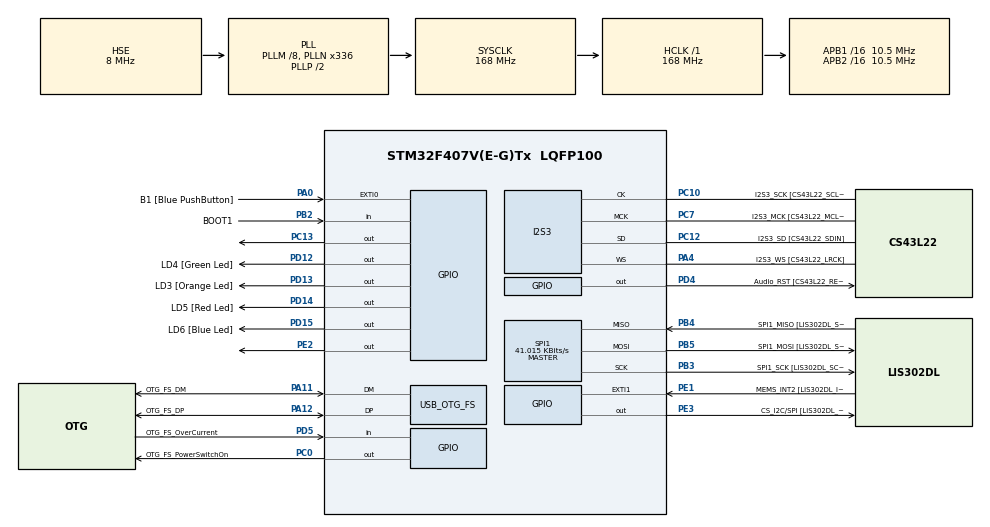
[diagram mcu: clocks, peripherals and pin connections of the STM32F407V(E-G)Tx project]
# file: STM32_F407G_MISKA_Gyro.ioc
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I2S3.AudioFreq-Half_Duplex_Master=I2S_AUDIOFREQ_96K
I2S3.ErrorAudioFreq=-2.34 %
I2S3.ErrorAudioFreq-Half_Duplex_Master=0.8 %
I2S3.FullDuplexMode=I2S_FULLDUPLEXMODE_DISABLE
I2S3.Instance=SPI$Index
I2S3.RealAudioFreq=93.75 KHz
I2S3.RealAudioFreq-Half_Duplex_Master=96.774 KHz
I2S3.VirtualMode=I2S_MODE_MASTER
Mcu.Family=STM32F4
Mcu.Name=STM32F407V(E-G)Tx
Mcu.Package=LQFP100
NVIC.EXTI0_IRQn=true\:0\:0\:false\:false\:true\:true\:true\:true
NVIC.OTG_FS_IRQn=true\:0\:0\:false\:false\:true\:true\:true\:true
NVIC.PriorityGroup=NVIC_PRIORITYGROUP_0
PA0-WKUP.GPIO_Label=B1 [Blue PushButton]
PA0-WKUP.GPIO_ModeDefaultEXTI=GPIO_MODE_IT_RISING_FALLING
PA0-WKUP.GPIO_PuPd=GPIO_PULLDOWN
PA0-WKUP.Signal=GPXTI0
PA10.GPIO_Label=OTG_FS_ID
PA10.GPIO_Mode=GPIO_MODE_AF_PP
PA10.GPIO_PuPd=GPIO_NOPULL
PA10.GPIO_Speed=GPIO_SPEED_FREQ_LOW
PA10.Signal=USB_OTG_FS_ID
PA11.GPIO_Label=OTG_FS_DM
PA11.GPIO_Mode=GPIO_MODE_AF_PP
PA11.GPIO_PuPd=GPIO_NOPULL
PA11.GPIO_Speed=GPIO_SPEED_FREQ_LOW
PA11.Mode=Device_Only
PA11.Signal=USB_OTG_FS_DM
PA12.GPIO_Label=OTG_FS_DP
PA12.GPIO_Mode=GPIO_MODE_AF_PP
PA12.GPIO_PuPd=GPIO_NOPULL
PA12.GPIO_Speed=GPIO_SPEED_FREQ_LOW
PA12.Mode=Device_Only
PA12.Signal=USB_OTG_FS_DP
PA13.GPIO_Label=SWDIO
PA13.Mode=Serial_Wire
PA13.Signal=SYS_JTMS-SWDIO
PA14.GPIO_Label=SWCLK
PA14.Mode=Serial_Wire
PA14.Signal=SYS_JTCK-SWCLK
PA4.GPIO_Label=I2S3_WS [CS43L22_LRCK]
PA4.GPIO_Mode=GPIO_MODE_AF_PP
PA4.GPIO_PuPd=GPIO_NOPULL
PA4.GPIO_Speed=GPIO_SPEED_FREQ_LOW
PA4.Mode=Half_Duplex_Master
PA4.Signal=I2S3_WS
PA9.GPIO_Label=VBUS_FS
PA9.GPIO_Mode=GPIO_MODE_INPUT
PA9.GPIO_PuPd=GPIO_NOPULL
PA9.Signal=USB_OTG_FS_VBUS
PB10.GPIO_Label=CLK_IN [MP45DT02_CLK]
PB10.GPIO_Mode=GPIO_MODE_AF_PP
PB10.GPIO_PuPd=GPIO_NOPULL
PB10.GPIO_Speed=GPIO_SPEED_FREQ_LOW
PB10.Signal=I2S2_CK
PB2.GPIO_Label=BOOT1
PB2.GPIO_Mode=GPIO_MODE_INPUT
PB2.GPIO_PuPd=GPIO_NOPULL
PB2.Signal=GPIO_Input
PB3.GPIO_Label=SPI1_SCK [LIS302DL_SCL/SPC]
PB3.GPIO_Mode=GPIO_MODE_AF_PP
PB3.GPIO_PuPd=GPIO_NOPULL
PB3.GPIO_Speed=GPIO_SPEED_FREQ_HIGH
PB3.Mode=Full_Duplex_Master
PB3.Signal=SPI1_SCK
PB4.GPIO_Label=SPI1_MISO [LIS302DL_SDO]
PB4.GPIO_Mode=GPIO_MODE_AF_PP
PB4.GPIO_PuPd=GPIO_NOPULL
PB4.GPIO_Speed=GPIO_SPEED_FREQ_HIGH
PB4.Mode=Full_Duplex_Master
PB4.Signal=SPI1_MISO
PB5.GPIO_Label=SPI1_MOSI [LIS302DL_SDA/SDI/SDO]
PB5.GPIO_Mode=GPIO_MODE_AF_PP
PB5.GPIO_PuPd=GPIO_NOPULL
PB5.GPIO_Speed=GPIO_SPEED_FREQ_HIGH
PB5.Mode=Full_Duplex_Master
PB5.Signal=SPI1_MOSI
PC0.GPIO_Label=OTG_FS_PowerSwitchOn
PC0.GPIO_PuPd=GPIO_NOPULL
PC0.GPIO_Speed=GPIO_SPEED_FREQ_LOW
PC0.PinState=GPIO_PIN_SET
PC0.Signal=GPIO_Output
PC10.GPIO_Label=I2S3_SCK [CS43L22_SCLK]
PC10.GPIO_Mode=GPIO_MODE_AF_PP
PC10.GPIO_PuPd=GPIO_NOPULL
PC10.GPIO_Speed=GPIO_SPEED_FREQ_LOW
PC10.Mode=Half_Duplex_Master
PC10.Signal=I2S3_CK
PC12.GPIO_Label=I2S3_SD [CS43L22_SDIN]
PC12.GPIO_Mode=GPIO_MODE_AF_PP
PC12.GPIO_PuPd=GPIO_NOPULL
PC12.GPIO_Speed=GPIO_SPEED_FREQ_LOW
PC12.Mode=Half_Duplex_Master
PC12.Signal=I2S3_SD
PC13-ANTI_TAMP.PinState=GPIO_PIN_SET
PC13-ANTI_TAMP.Signal=GPIO_Output
PC14-OSC32_IN.GPIO_Label=PC14-OSC32_IN
PC14-OSC32_IN.Mode=LSE-External-Oscillator
PC14-OSC32_IN.Signal=RCC_OSC32_IN
PC15-OSC32_OUT.GPIO_Label=PC15-OSC32_OUT
PC15-OSC32_OUT.Mode=LSE-External-Oscillator
PC15-OSC32_OUT.Signal=RCC_OSC32_OUT
PC3.GPIO_Label=PDM_OUT [MP45DT02_DOUT]
PC3.GPIO_Mode=GPIO_MODE_AF_PP
PC3.GPIO_PuPd=GPIO_NOPULL
PC3.GPIO_Speed=GPIO_SPEED_FREQ_LOW
PC3.Signal=I2S2_SD
PC7.GPIO_Label=I2S3_MCK [CS43L22_MCLK]
PC7.GPIO_Mode=GPIO_MODE_AF_PP
PC7.GPIO_PuPd=GPIO_NOPULL
PC7.GPIO_Speed=GPIO_SPEED_FREQ_LOW
PC7.Mode=Master_Clock_Activated
PC7.Signal=I2S3_MCK
PD12.GPIO_Label=LD4 [Green Led]
PD12.GPIO_PuPd=GPIO_NOPULL
PD12.GPIO_Speed=GPIO_SPEED_FREQ_LOW
PD12.Signal=GPIO_Output
PD13.GPIO_Label=LD3 [Orange Led]
PD13.GPIO_PuPd=GPIO_NOPULL
PD13.GPIO_Speed=GPIO_SPEED_FREQ_LOW
PD13.Signal=GPIO_Output
PD14.GPIO_Label=LD5 [Red Led]
PD14.GPIO_PuPd=GPIO_NOPULL
PD14.GPIO_Speed=GPIO_SPEED_FREQ_LOW
PD14.Signal=GPIO_Output
PD15.GPIO_Label=LD6 [Blue Led]
PD15.GPIO_PuPd=GPIO_NOPULL
PD15.GPIO_Speed=GPIO_SPEED_FREQ_LOW
PD15.Signal=GPIO_Output
PD4.GPIO_Label=Audio_RST [CS43L22_RESET]
PD4.GPIO_PuPd=GPIO_NOPULL
PD4.GPIO_Speed=GPIO_SPEED_FREQ_LOW
PD4.Signal=GPIO_Output
PD5.GPIO_Label=OTG_FS_OverCurrent
PD5.GPIO_Mode=GPIO_MODE_INPUT
PD5.GPIO_PuPd=GPIO_NOPULL
PD5.Signal=GPIO_Input
PE1.GPIO_Label=MEMS_INT2 [LIS302DL_INT2]
PE1.GPIO_ModeDefaultEXTI=GPIO_MODE_EVT_RISING
PE1.GPIO_PuPd=GPIO_NOPULL
PE1.Signal=GPXTI1
PE2.GPIO_Speed=GPIO_SPEED_FREQ_HIGH
PE2.Signal=GPIO_Output
PE3.GPIO_Label=CS_I2C/SPI [LIS302DL_CS_I2C/SPI]
PE3.GPIO_PuPd=GPIO_NOPULL
PE3.GPIO_Speed=GPIO_SPEED_FREQ_LOW
PE3.Signal=GPIO_Output
PH0-OSC_IN.GPIO_Label=PH0-OSC_IN
PH0-OSC_IN.Mode=HSE-External-Oscillator
PH0-OSC_IN.Signal=RCC_OSC_IN
PH1-OSC_OUT.GPIO_Label=PH1-OSC_OUT
PH1-OSC_OUT.Mode=HSE-External-Oscillator
PH1-OSC_OUT.Signal=RCC_OSC_OUT
ProjectManager.HeapSize=0x200
ProjectManager.StackSize=0x400
ProjectManager.TargetToolchain=STM32CubeIDE
RCC.48MHZClocksFreq_Value=48000000
RCC.AHBFreq_Value=168000000
RCC.APB1CLKDivider=RCC_HCLK_DIV16
RCC.APB1Freq_Value=10500000
RCC.APB1TimFreq_Value=21000000
RCC.APB2CLKDivider=RCC_HCLK_DIV16
RCC.APB2Freq_Value=10500000
RCC.APB2TimFreq_Value=21000000
RCC.CortexFreq_Value=168000000
RCC.HCLKFreq_Value=168000000
RCC.HSE_VALUE=8000000
RCC.HSI_VALUE=16000000
RCC.PLLM=8
RCC.PLLN=336
RCC.PLLQ=7
RCC.SYSCLKFreq_VALUE=168000000
RCC.SYSCLKSource=RCC_SYSCLKSOURCE_PLLCLK
RCC.VCOOutputFreq_Value=336000000
SPI1.BaudRatePrescaler=SPI_BAUDRATEPRESCALER_256
SPI1.CalculateBaudRate=41.015 KBits/s
SPI1.Direction=SPI_DIRECTION_2LINES
SPI1.Mode=SPI_MODE_MASTER
SPI1.VirtualType=VM_MASTER
USB_DEVICE.CLASS_NAME_FS=HID
USB_DEVICE.PRODUCT_STRING_HID_FS=STM32F407G MISKA
USB_DEVICE.VirtualMode-HID_FS=Hid
USB_DEVICE.VirtualModeFS=Hid_FS
USB_OTG_FS.VirtualMode=Device_Only
VP_USB_DEVICE_VS_USB_DEVICE_HID_FS.Mode=HID_FS
board=STM32F407G-DISC1

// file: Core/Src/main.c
/* USER CODE BEGIN Header */
/**
  ******************************************************************************
  * @file           : main.c
  * @brief          : Main program body
  ******************************************************************************
  * @attention
  *
  * <h2><center>&copy; Copyright (c) 2022 STMicroelectronics.
  * All rights reserved.</center></h2>
  *
  * This software component is licensed by ST under Ultimate Liberty license
  * SLA0044, the "License"; You may not use this file except in compliance with
  * the License. You may obtain a copy of the License at:
  *                             www.st.com/SLA0044
  *
  ******************************************************************************
  */
/* USER CODE END Header */
#include "main.h"
#include "i2s.h"
#include "spi.h"
#include "usb_device.h"
#include "gpio.h"

/* USER CODE BEGIN Includes */
#include "usbd_hid.h"
/* USER CODE END Includes */

/* USER CODE BEGIN PV */
#define BUFSIZE 256
char	SendBuffer[BUFSIZE];
int	Counter;
int KeyState=0;

// Global variables
uint8_t indata[2];
uint8_t outdata[2] = {0,0};
uint8_t lis_id;
int8_t AccelX;
int8_t AccelY;
int8_t AccelZ;
int8_t GyroX;
int8_t GyroY;
int8_t GyroZ;
HAL_StatusTypeDef SPIStatus;

/* USER CODE END PV */

void SystemClock_Config(void);

/* USER CODE BEGIN 0 */

uint8_t button_flag = 0;

int16_t vertZero = 0;
int16_t horzZero = 0;
int16_t vertValue = 0;
int16_t horzValue = 0;
int16_t sensitivity = 30;
int16_t summ_horz = 0;

// MOUSE
extern USBD_HandleTypeDef hUsbDeviceFS;

typedef struct
{
	uint8_t button;
	int8_t mouse_x;
	int8_t mouse_y;
	int8_t wheel;
} mouseHID;

mouseHID mousehid = {0,0,0,0};

// EXTI -> external interrupt for when the USER button on the STM32 is pressed

void HAL_GPIO_EXTI_Callback(uint16_t GPIO_Pin)
{
	if (GPIO_Pin == GPIO_PIN_0) //Check if the blue USER button is pressed; GPIOA, GPIO_PIN_0
	{
		//button_flag = 1;
		button_flag = HAL_GPIO_ReadPin(GPIOA, GPIO_PIN_0);
	}
}

/* USER CODE END 0 */

int main(void)
{

  /* MCU Configuration--------------------------------------------------------*/

  /* Reset of all peripherals, Initializes the Flash interface and the Systick. */
  HAL_Init();

  /* Configure the system clock */
  SystemClock_Config();

  /* Initialize all configured peripherals */
  MX_GPIO_Init();
  MX_I2S3_Init();
  MX_SPI1_Init();
  MX_USB_DEVICE_Init();
  /* USER CODE BEGIN 2 */

  // read WHOAMI register
  HAL_GPIO_WritePin(GPIOE, GPIO_PIN_2, GPIO_PIN_RESET);
  outdata[0] = 0x0f | 0x80 ; // read whoami
  HAL_SPI_TransmitReceive(&hspi1, &outdata, &indata, 2, HAL_MAX_DELAY);
  lis_id = indata[1];
  HAL_GPIO_WritePin(GPIOE, GPIO_PIN_2, GPIO_PIN_SET);
  HAL_Delay(500);

  // sensor setup (activation and setting frequency)
  HAL_GPIO_WritePin(GPIOE, GPIO_PIN_2, GPIO_PIN_RESET);

  outdata[0] = 0x10 ; // register used for setting up the accelerometer
  outdata[1] = 0x20 ; // set frequency to 26Hz
  HAL_SPI_TransmitReceive(&hspi1, &outdata, &indata, 2, HAL_MAX_DELAY);

  HAL_GPIO_WritePin(GPIOE, GPIO_PIN_2, GPIO_PIN_SET);
  HAL_Delay(500);
  outdata[1] = 0x00 ;
  HAL_GPIO_WritePin(GPIOE, GPIO_PIN_2, GPIO_PIN_RESET);

  outdata[0] = 0x11 ; // register used for setting up the gyroscope
  outdata[1] = 0x20 ; // set frequency to 26Hz
  HAL_SPI_TransmitReceive(&hspi1, &outdata, &indata, 2, HAL_MAX_DELAY);

  HAL_GPIO_WritePin(GPIOE, GPIO_PIN_2, GPIO_PIN_SET);
  HAL_Delay(500);
  outdata[1] = 0x00 ;

  /* USER CODE END 2 */

  /* Infinite loop */
  /* USER CODE BEGIN WHILE */
  while (1)
  {

	  //Read gyroscope measurements
	  outdata[0] = 0x23 | 0x80 ; // read x (pitch), 0x4B
	  HAL_GPIO_WritePin(GPIOE, GPIO_PIN_2, GPIO_PIN_RESET);
	  HAL_SPI_TransmitReceive(&hspi1, &outdata, &indata, 2, HAL_MAX_DELAY);
	   	   HAL_GPIO_WritePin(GPIOE, GPIO_PIN_2, GPIO_PIN_SET);
	  GyroX = indata[1];

	  outdata[0] = 0x25 | 0x80 ; // read y (roll), 0x4D
	   	   HAL_GPIO_WritePin(GPIOE, GPIO_PIN_2, GPIO_PIN_RESET);
	  HAL_SPI_TransmitReceive(&hspi1, &outdata, &indata, 2, HAL_MAX_DELAY);
	   	   HAL_GPIO_WritePin(GPIOE, GPIO_PIN_2, GPIO_PIN_SET);
	  GyroY = indata[1];

	  outdata[0] = 0x27 | 0x80 ; // read z (yaw), 0x4F
	   	   HAL_GPIO_WritePin(GPIOE, GPIO_PIN_2, GPIO_PIN_RESET);
	  HAL_SPI_TransmitReceive(&hspi1, &outdata, &indata, 2, HAL_MAX_DELAY);
	  HAL_GPIO_WritePin(GPIOE, GPIO_PIN_2, GPIO_PIN_SET);
	  GyroZ = indata[1];

	  //Read accelerometer measurements
	  outdata[0] = 0x29 | 0x80 ; // read x, 0x51
	  HAL_GPIO_WritePin(GPIOE, GPIO_PIN_2, GPIO_PIN_RESET);
	  HAL_SPI_TransmitReceive(&hspi1, &outdata, &indata, 2, HAL_MAX_DELAY);
	   	   HAL_GPIO_WritePin(GPIOE, GPIO_PIN_2, GPIO_PIN_SET);
	  AccelX = indata[1];
	  outdata[0] = 0x2B | 0x80 ; // read y, 0x53
	   	   HAL_GPIO_WritePin(GPIOE, GPIO_PIN_2, GPIO_PIN_RESET);
	  HAL_SPI_TransmitReceive(&hspi1, &outdata, &indata, 2, HAL_MAX_DELAY);
	   	   HAL_GPIO_WritePin(GPIOE, GPIO_PIN_2, GPIO_PIN_SET);
	  AccelY = indata[1];
	  outdata[0] = 0x2D | 0x80 ; // read z, 0x55
	   	   HAL_GPIO_WritePin(GPIOE, GPIO_PIN_2, GPIO_PIN_RESET);
	  HAL_SPI_TransmitReceive(&hspi1, &outdata, &indata, 2, HAL_MAX_DELAY);
	  HAL_GPIO_WritePin(GPIOE, GPIO_PIN_2, GPIO_PIN_SET);
	  AccelZ = indata[1];

    /* USER CODE END WHILE */

    /* USER CODE BEGIN 3 */
	  //HAL_Delay(1000);

	vertValue = GyroY; // / 3.142857 * 180; /*- vertZero;*/
	horzValue = GyroX; // / 3.142857 * 180; /*- horzZero;*/
	vertZero = GyroY;
	horzZero = GyroX;

	if ((AccelZ < 16 && vertValue > 2) || (vertValue < -2 && AccelZ > -36)) { // goes up when vertval is negative and down when positive; Accelerometer is used to limit the angle of usage to not have to use the air-mouse in a unpleasant position
		mousehid.mouse_y = (vertValue / 1.3 /* * sensitivity*/);    // move mouse on y axis
	}
	else
		mousehid.mouse_y = 0;

	if ((summ_horz > -1050 && horzValue > 2) || (summ_horz < 1050 && horzValue < -2)) { // limiting the angle of usage with a sum of gyroscope measurements does not work very well especially with quick larger movements -> it can limit the cursors area of movement!!!
		mousehid.mouse_x= (horzValue / 1.3 /* * sensitivity*/); // move mouse on x axis
		summ_horz = summ_horz + (horzValue / 1.3);
    }
	else {
		mousehid.mouse_x= 0;
		//if (horzValue > 2 || horzValue < -2)
		summ_horz = summ_horz + (horzValue / 1.3);
	}

	if (button_flag==1)
	{
		mousehid.button = 1; //left click = 1; right click = 2
		USBD_HID_SendReport(&hUsbDeviceFS, &mousehid, sizeof (mousehid)); //Hold mouse button
	}
	else if (button_flag==0) {
		mousehid.button = 0; //left click = 1; right click = 2
		USBD_HID_SendReport(&hUsbDeviceFS, &mousehid, sizeof (mousehid));
	}

	USBD_HID_SendReport(&hUsbDeviceFS,&mousehid, sizeof (mousehid)); //Send data to USB

	HAL_Delay(10);

	//vertValue = 0; //- vertZero;
	//horzValue = 0;

  }
  /* USER CODE END 3 */
}

void SystemClock_Config(void)
{
  RCC_OscInitTypeDef RCC_OscInitStruct = {0};
  RCC_ClkInitTypeDef RCC_ClkInitStruct = {0};

  /** Configure the main internal regulator output voltage
  */
  __HAL_RCC_PWR_CLK_ENABLE();
  __HAL_PWR_VOLTAGESCALING_CONFIG(PWR_REGULATOR_VOLTAGE_SCALE1);

  /** Initializes the RCC Oscillators according to the specified parameters
  * in the RCC_OscInitTypeDef structure.
  */
  RCC_OscInitStruct.OscillatorType = RCC_OSCILLATORTYPE_HSE;
  RCC_OscInitStruct.HSEState = RCC_HSE_ON;
  RCC_OscInitStruct.PLL.PLLState = RCC_PLL_ON;
  RCC_OscInitStruct.PLL.PLLSource = RCC_PLLSOURCE_HSE;
  RCC_OscInitStruct.PLL.PLLM = 8;
  RCC_OscInitStruct.PLL.PLLN = 336;
  RCC_OscInitStruct.PLL.PLLP = RCC_PLLP_DIV2;
  RCC_OscInitStruct.PLL.PLLQ = 7;
  if (HAL_RCC_OscConfig(&RCC_OscInitStruct) != HAL_OK)
  {
    Error_Handler();
  }

  /** Initializes the CPU, AHB and APB buses clocks
  */
  RCC_ClkInitStruct.ClockType = RCC_CLOCKTYPE_HCLK|RCC_CLOCKTYPE_SYSCLK
                              |RCC_CLOCKTYPE_PCLK1|RCC_CLOCKTYPE_PCLK2;
  RCC_ClkInitStruct.SYSCLKSource = RCC_SYSCLKSOURCE_PLLCLK;
  RCC_ClkInitStruct.AHBCLKDivider = RCC_SYSCLK_DIV1;
  RCC_ClkInitStruct.APB1CLKDivider = RCC_HCLK_DIV16;
  RCC_ClkInitStruct.APB2CLKDivider = RCC_HCLK_DIV16;

  if (HAL_RCC_ClockConfig(&RCC_ClkInitStruct, FLASH_LATENCY_5) != HAL_OK)
  {
    Error_Handler();
  }
}

void Error_Handler(void)
{
  __disable_irq();
  while (1)
  {
  }
}
